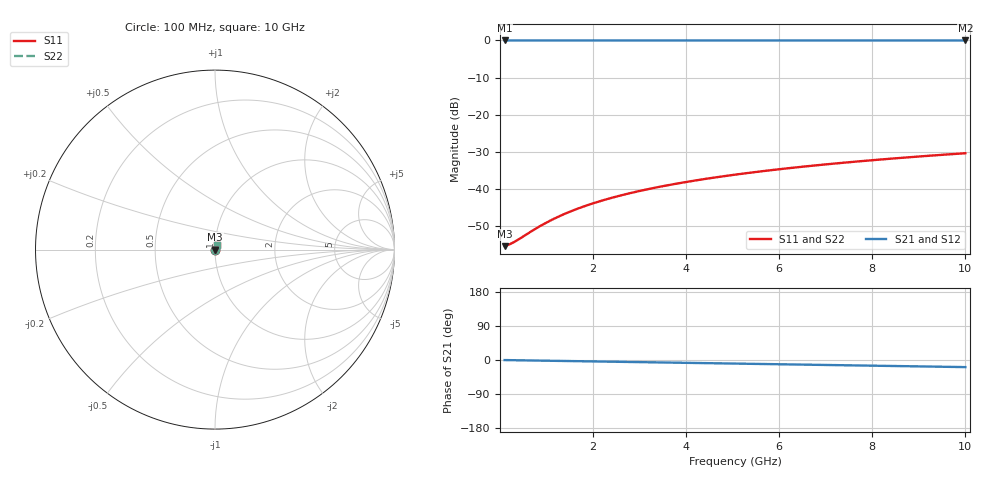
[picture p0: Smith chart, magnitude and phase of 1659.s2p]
# Hz S RI R 50.00
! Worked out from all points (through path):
!   100 points, 100 MHz to 10 GHz, reference 50 ohm
!   highest |S21| = -0.01 dB at 100 MHz (marker M1); lowest = 0.0 dB at 10 GHz (marker M2)
!   group delay of S21, straight-line fit = 5.21 ps
!   lowest |S11| = -55.4 dB at 100 MHz (marker M3), VSWR 1.00, Z = 50.2 + j0.0305 ohm
!   |S11| at or under -10 dB: start of sweep to end of sweep
!   |S22| runs from -55.4 to -30.4 dB; largest |S21 - S12| = 0
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1e8  0.00167 0.000304  0.9983 -0.00325  0.9983 -0.00325  0.00167 0.000304
2e8  0.00169 0.000608  0.9983 -0.00651  0.9983 -0.00651  0.00169 0.000608
3e8  0.0017 0.000912  0.9983 -0.00976  0.9983 -0.00976  0.0017 0.000912
8e8  0.00177 0.00243  0.9979 -0.026  0.9979 -0.026  0.00177 0.00243
9e8  0.00179 0.00273  0.9978 -0.0293  0.9978 -0.0293  0.00179 0.00273
1.1e9  0.00184 0.00334  0.9976 -0.0358  0.9976 -0.0358  0.00184 0.00334
1.4e9  0.00192 0.00424  0.9972 -0.0455  0.9972 -0.0455  0.00192 0.00424
1.6e9  0.00198 0.00485  0.9969 -0.052  0.9969 -0.052  0.00198 0.00485
1.8e9  0.00205 0.00545  0.9965 -0.0585  0.9965 -0.0585  0.00205 0.00545
2.1e9  0.00217 0.00635  0.9958 -0.0683  0.9958 -0.0683  0.00217 0.00635
2.5e9  0.00236 0.00755  0.9948 -0.0813  0.9948 -0.0813  0.00236 0.00755
2.9e9  0.00257 0.00874  0.9937 -0.0942  0.9937 -0.0942  0.00257 0.00874
3.4e9  0.00289 0.0102  0.992 -0.1105  0.992 -0.1105  0.00289 0.0102
3.8e9  0.00317 0.0114  0.9904 -0.1234  0.9904 -0.1234  0.00317 0.0114
4.2e9  0.00349 0.0126  0.9887 -0.1363  0.9887 -0.1363  0.00349 0.0126
4.6e9  0.00384 0.0137  0.9868 -0.1492  0.9868 -0.1492  0.00384 0.0137
5.1e9  0.00431 0.0151  0.9842 -0.1654  0.9842 -0.1654  0.00431 0.0151
5.9e9  0.00517 0.0174  0.9795 -0.1911  0.9795 -0.1911  0.00517 0.0174
6.7e9  0.00615 0.0196  0.974 -0.2166  0.974 -0.2166  0.00615 0.0196
7.5e9  0.00725 0.0218  0.9679 -0.2421  0.9679 -0.2421  0.00725 0.0218
8.4e9  0.00861 0.0241  0.9603 -0.2706  0.9603 -0.2706  0.00861 0.0241
1e10  0.0114 0.0281  0.9445 -0.3207  0.9445 -0.3207  0.0114 0.0281
